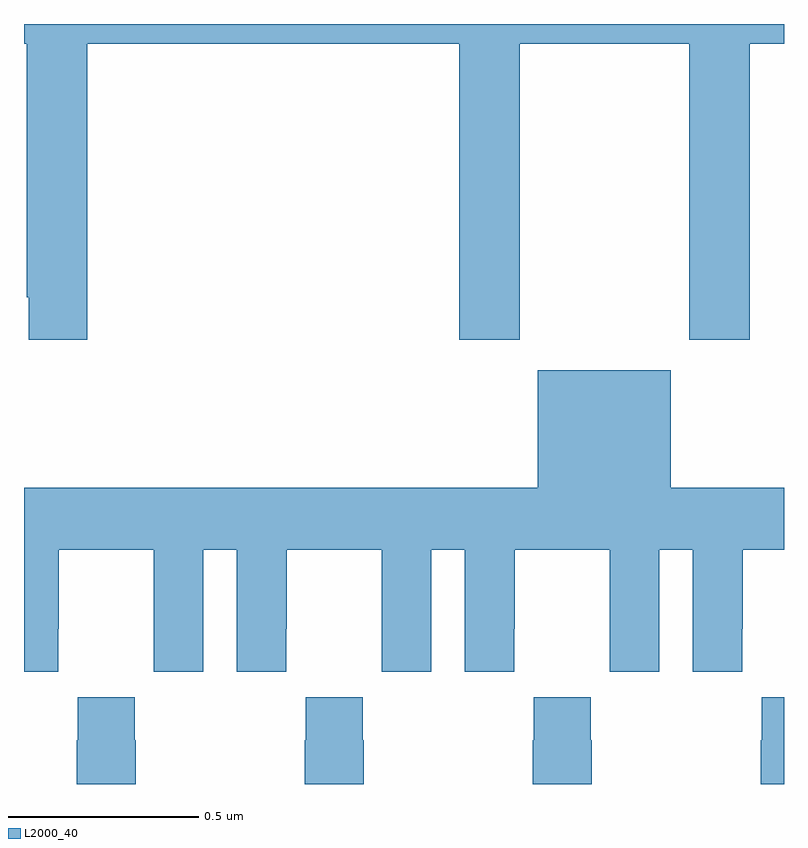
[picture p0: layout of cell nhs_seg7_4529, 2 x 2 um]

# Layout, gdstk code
import gdstk
lib = gdstk.Library(unit=1e-6, precision=1e-09)
def P(c, l, *ps):  # polygons
    for p in ps: c.add(gdstk.Polygon(p, *l))
L2000_40 = (2000, 40)

nhs_seg7_4529 = lib.new_cell('nhs_seg7_4529')
P(nhs_seg7_4529, L2000_40, [(174.167,1001.948),(175.145,1001.948),(175.145,1001.169),(175.305,1001.169),(175.305,1001.948),(175.75,1001.948),(175.75,1001.169),(175.91,1001.169),(175.91,1001.948),(176,1001.948),(176,1002),(174,1002),(174,1001.948),(174.007,1001.948),(174.007,1001.281),(174.013,1001.281),(174.013,1001.169),(174.167,1001.169)],
  [(174,1000.296),(174.09,1000.296),(174.09,1000.408),(174.091,1000.408),(174.091,1000.616),(174.341,1000.616),(174.341,1000.408),(174.342,1000.408),(174.342,1000.296),(174.472,1000.296),(174.472,1000.616),(174.56,1000.616),(174.56,1000.296),(174.69,1000.296),(174.69,1000.408),(174.691,1000.408),(174.691,1000.616),(174.941,1000.616),(174.941,1000.408),(174.942,1000.408),(174.942,1000.296),(175.072,1000.296),(175.072,1000.616),(175.16,1000.616),(175.16,1000.296),(175.29,1000.296),(175.29,1000.408),(175.291,1000.408),(175.291,1000.616),(175.541,1000.616),(175.541,1000.408),(175.542,1000.408),(175.542,1000.296),(175.672,1000.296),(175.672,1000.616),(175.76,1000.616),(175.76,1000.296),(175.89,1000.296),(175.89,1000.408),(175.891,1000.408),(175.891,1000.616),(176,1000.616),(176,1000.78),(175.702,1000.78),(175.702,1001.089),(175.352,1001.089),(175.352,1000.78),(174,1000.78)],
  [(176,1000.228),(175.941,1000.228),(175.941,1000.115),(175.939,1000.115),(175.939,1000),(176,1000)],
  [(175.494,1000.115),(175.491,1000.115),(175.491,1000.228),(175.341,1000.228),(175.341,1000.115),(175.339,1000.115),(175.339,1000),(175.494,1000)],
  [(174.741,1000.115),(174.739,1000.115),(174.739,1000),(174.894,1000),(174.894,1000.115),(174.891,1000.115),(174.891,1000.228),(174.741,1000.228)],
  [(174.294,1000.115),(174.291,1000.115),(174.291,1000.228),(174.141,1000.228),(174.141,1000.115),(174.139,1000.115),(174.139,1000),(174.294,1000)])

lib.write_gds('nhs_seg7_4529.gds')
